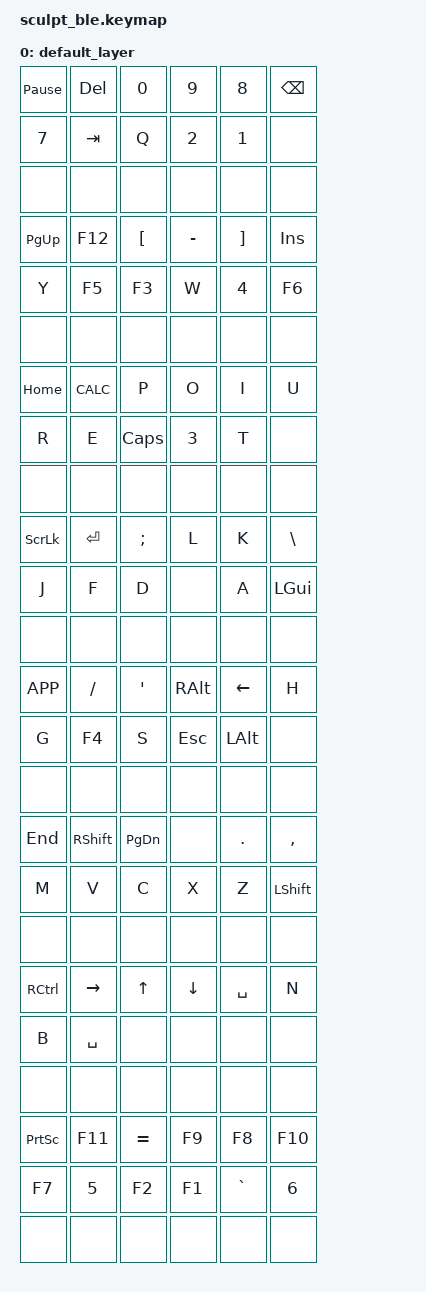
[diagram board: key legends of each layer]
#include <behaviors.dtsi>
#include <dt-bindings/zmk/keys.h>
#include <dt-bindings/zmk/outputs.h>
#include <dt-bindings/zmk/bt.h>

#include <behaviors.dtsi>
#include <dt-bindings/zmk/keys.h>

 / {
  keymap {
    compatible = "zmk,keymap";

    default_layer {
      bindings = <
        /* ROW 0 */
        &kp PAUSE_BREAK  &kp DEL       &kp N0        &kp N9        &kp N8        &kp BSPC
        &kp N7           &kp TAB       &kp Q         &kp N2        &kp N1        &none
        &none            &none         &none         &none         &none         &none

        /* ROW 1 */
        &kp PG_UP        &kp F12       &kp LBKT      &kp MINUS     &kp RBKT      &kp INS
        &kp Y            &kp F5        &kp F3        &kp W         &kp N4        &kp F6
        &none            &none         &none         &none         &none         &none

        /* ROW 2 */
        &kp HOME         &kp K_CALC    &kp P         &kp O         &kp I         &kp U
        &kp R            &kp E         &kp CAPS      &kp N3        &kp T         &none
        &none            &none         &none         &none         &none         &none

        /* ROW 3 */
        &kp SLCK         &kp RET       &kp SEMI      &kp L         &kp K         &kp BSLH
        &kp J            &kp F         &kp D         &none         &kp A         &kp LGUI
        &none            &none         &none         &none         &none         &none

        /* ROW 4 */
        &kp K_APP        &kp FSLH      &kp SQT       &kp RALT      &kp LEFT      &kp H
        &kp G            &kp F4        &kp S         &kp ESC       &kp LALT      &none
        &none            &none         &none         &none         &none         &none

        /* ROW 5 */
        &kp END          &kp RSHFT     &kp PG_DN     &none         &kp DOT       &kp COMMA
        &kp M            &kp V         &kp C         &kp X         &kp Z         &kp LSHFT
        &none            &none         &none         &none         &none         &none

        /* ROW 6 */
        &kp RCTRL        &kp RIGHT     &kp UP        &kp DOWN      &kp SPACE     &kp N
        &kp B            &kp SPACE     &none         &none         &none         &none
        &none            &none         &none         &none         &none         &none

        /* ROW 7 */
        &kp PSCRN        &kp F11       &kp EQUAL     &kp F9        &kp F8        &kp F10
        &kp F7           &kp N5        &kp F2        &kp F1        &kp GRAVE     &kp N6
        &none            &none         &none         &none         &none         &none
      >;
    };
  };
};
